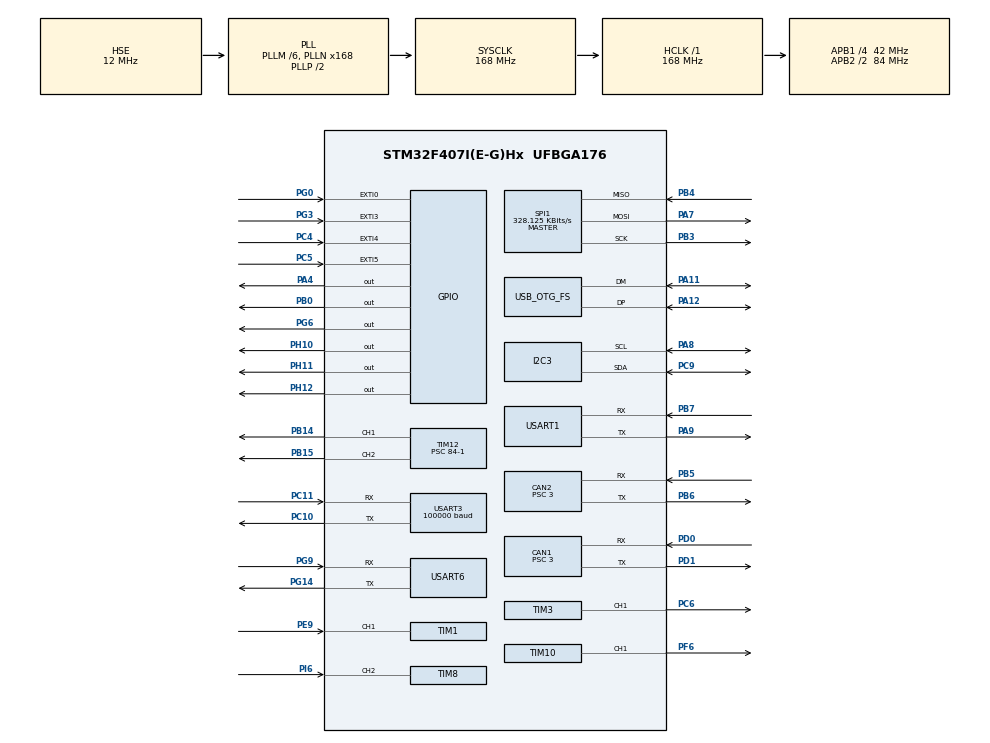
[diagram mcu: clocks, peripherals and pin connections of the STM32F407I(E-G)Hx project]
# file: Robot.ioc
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CAN1.BS1=CAN_BS1_10TQ
CAN1.BS2=CAN_BS2_3TQ
CAN1.CalculateBaudRate=1000000
CAN1.CalculateTimeBit=1000
CAN1.CalculateTimeQuantum=71.42857142857143
CAN1.Prescaler=3
CAN1.SJW=CAN_SJW_1TQ
CAN2.BS1=CAN_BS1_10TQ
CAN2.BS2=CAN_BS2_3TQ
CAN2.CalculateBaudRate=1000000
CAN2.CalculateTimeBit=1000
CAN2.CalculateTimeQuantum=71.42857142857143
CAN2.Prescaler=3
Dma.Request0=SPI1_RX
Dma.Request1=SPI1_TX
Dma.Request2=USART3_RX
Dma.Request3=USART6_RX
Dma.Request4=USART6_TX
Dma.SPI1_RX.0.Direction=DMA_PERIPH_TO_MEMORY
Dma.SPI1_RX.0.FIFOMode=DMA_FIFOMODE_DISABLE
Dma.SPI1_RX.0.Instance=DMA2_Stream2
Dma.SPI1_RX.0.MemDataAlignment=DMA_MDATAALIGN_BYTE
Dma.SPI1_RX.0.MemInc=DMA_MINC_ENABLE
Dma.SPI1_RX.0.Mode=DMA_NORMAL
Dma.SPI1_RX.0.PeriphDataAlignment=DMA_PDATAALIGN_BYTE
Dma.SPI1_RX.0.PeriphInc=DMA_PINC_DISABLE
Dma.SPI1_RX.0.Priority=DMA_PRIORITY_VERY_HIGH
Dma.SPI1_TX.1.Direction=DMA_MEMORY_TO_PERIPH
Dma.SPI1_TX.1.FIFOMode=DMA_FIFOMODE_DISABLE
Dma.SPI1_TX.1.Instance=DMA2_Stream3
Dma.SPI1_TX.1.MemDataAlignment=DMA_MDATAALIGN_BYTE
Dma.SPI1_TX.1.MemInc=DMA_MINC_ENABLE
Dma.SPI1_TX.1.Mode=DMA_NORMAL
Dma.SPI1_TX.1.PeriphDataAlignment=DMA_PDATAALIGN_BYTE
Dma.SPI1_TX.1.PeriphInc=DMA_PINC_DISABLE
Dma.SPI1_TX.1.Priority=DMA_PRIORITY_HIGH
Dma.USART3_RX.2.Direction=DMA_PERIPH_TO_MEMORY
Dma.USART3_RX.2.FIFOMode=DMA_FIFOMODE_DISABLE
Dma.USART3_RX.2.Instance=DMA1_Stream1
Dma.USART3_RX.2.MemDataAlignment=DMA_MDATAALIGN_BYTE
Dma.USART3_RX.2.MemInc=DMA_MINC_ENABLE
Dma.USART3_RX.2.Mode=DMA_NORMAL
Dma.USART3_RX.2.PeriphDataAlignment=DMA_PDATAALIGN_BYTE
Dma.USART3_RX.2.PeriphInc=DMA_PINC_DISABLE
Dma.USART3_RX.2.Priority=DMA_PRIORITY_LOW
Dma.USART6_RX.3.Direction=DMA_PERIPH_TO_MEMORY
Dma.USART6_RX.3.FIFOMode=DMA_FIFOMODE_DISABLE
Dma.USART6_RX.3.Instance=DMA2_Stream1
Dma.USART6_RX.3.MemDataAlignment=DMA_MDATAALIGN_BYTE
Dma.USART6_RX.3.MemInc=DMA_MINC_ENABLE
Dma.USART6_RX.3.Mode=DMA_NORMAL
Dma.USART6_RX.3.PeriphDataAlignment=DMA_PDATAALIGN_BYTE
Dma.USART6_RX.3.PeriphInc=DMA_PINC_DISABLE
Dma.USART6_RX.3.Priority=DMA_PRIORITY_HIGH
Dma.USART6_TX.4.Direction=DMA_MEMORY_TO_PERIPH
Dma.USART6_TX.4.FIFOMode=DMA_FIFOMODE_DISABLE
Dma.USART6_TX.4.Instance=DMA2_Stream6
Dma.USART6_TX.4.MemDataAlignment=DMA_MDATAALIGN_BYTE
Dma.USART6_TX.4.MemInc=DMA_MINC_ENABLE
Dma.USART6_TX.4.Mode=DMA_NORMAL
Dma.USART6_TX.4.PeriphDataAlignment=DMA_PDATAALIGN_BYTE
Dma.USART6_TX.4.PeriphInc=DMA_PINC_DISABLE
Dma.USART6_TX.4.Priority=DMA_PRIORITY_LOW
FREERTOS.INCLUDE_eTaskGetState=1
FREERTOS.INCLUDE_pcTaskGetTaskName=1
FREERTOS.INCLUDE_uxTaskGetStackHighWaterMark=1
FREERTOS.INCLUDE_vTaskCleanUpResources=1
FREERTOS.INCLUDE_vTaskDelayUntil=1
FREERTOS.INCLUDE_xEventGroupSetBitFromISR=1
FREERTOS.INCLUDE_xQueueGetMutexHolder=1
FREERTOS.INCLUDE_xSemaphoreGetMutexHolder=1
FREERTOS.INCLUDE_xTaskAbortDelay=1
FREERTOS.INCLUDE_xTaskGetCurrentTaskHandle=1
FREERTOS.INCLUDE_xTaskGetHandle=1
FREERTOS.INCLUDE_xTimerPendFunctionCall=1
FREERTOS.Tasks01=INS_TASK,3,2560,INS_Task,As weak,NULL,Dynamic,NULL,NULL;LED_TASK,0,128,LED_Task,As weak,NULL,Dynamic,NULL,NULL;Chassis_TASK,1,512,Chassis_Task,As weak,NULL,Dynamic,NULL,NULL;Gimbal_TASK,2,512,Gimbal_Task,As weak,NULL,Dynamic,NULL,NULL;Shoot_TASK,0,512,Shoot_Task,As weak,NULL,Dynamic,NULL,NULL;USB_TASK,0,128,USB_Task,As weak,NULL,Dynamic,NULL,NULL;Referee_TASK,-3,128,Referee_Task,As weak,NULL,Dynamic,NULL,NULL;User_TASK,-3,128,User_Task,As weak,NULL,Dynamic,NULL,NULL
FREERTOS.configTOTAL_HEAP_SIZE=24576
FREERTOS.configUSE_TIMERS=1
I2C3.I2C_Mode=I2C_Fast
Mcu.Family=STM32F4
Mcu.Name=STM32F407I(E-G)Hx
Mcu.Package=UFBGA176
NVIC.CAN1_RX0_IRQn=true\:5\:0\:false\:false\:true\:true\:true\:true\:true
NVIC.CAN2_RX0_IRQn=true\:5\:0\:false\:false\:true\:true\:true\:true\:true
NVIC.DMA1_Stream1_IRQn=true\:5\:0\:false\:false\:true\:true\:false\:true\:true
NVIC.DMA2_Stream1_IRQn=true\:5\:0\:false\:false\:true\:true\:false\:true\:true
NVIC.DMA2_Stream2_IRQn=true\:5\:0\:false\:false\:true\:true\:false\:true\:true
NVIC.DMA2_Stream3_IRQn=true\:5\:0\:false\:false\:true\:true\:false\:true\:true
NVIC.DMA2_Stream6_IRQn=true\:5\:0\:false\:false\:true\:true\:false\:true\:true
NVIC.EXTI0_IRQn=true\:5\:0\:false\:false\:true\:true\:true\:true\:true
NVIC.EXTI3_IRQn=true\:5\:0\:false\:false\:true\:true\:true\:true\:true
NVIC.EXTI4_IRQn=true\:5\:0\:false\:false\:true\:true\:true\:true\:true
NVIC.EXTI9_5_IRQn=true\:5\:0\:false\:false\:true\:true\:true\:true\:true
NVIC.OTG_FS_IRQn=true\:5\:0\:false\:false\:true\:true\:false\:true\:true
NVIC.PriorityGroup=NVIC_PRIORITYGROUP_4
NVIC.TIM2_IRQn=true\:15\:0\:false\:false\:true\:false\:false\:true\:true
NVIC.TIM8_TRG_COM_TIM14_IRQn=true\:5\:0\:false\:false\:true\:true\:true\:true\:true
NVIC.TimeBase=TIM2_IRQn
NVIC.TimeBaseIP=TIM2
NVIC.USART3_IRQn=true\:5\:0\:false\:false\:true\:true\:true\:true\:true
NVIC.USART6_IRQn=true\:5\:0\:false\:false\:true\:true\:true\:true\:true
PA11.Mode=Device_Only
PA11.Signal=USB_OTG_FS_DM
PA12.Mode=Device_Only
PA12.Signal=USB_OTG_FS_DP
PA13.Mode=Serial_Wire
PA13.Signal=SYS_JTMS-SWDIO
PA14.Mode=Serial_Wire
PA14.Signal=SYS_JTCK-SWCLK
PA4.GPIO_PuPd=GPIO_PULLUP
PA4.GPIO_Speed=GPIO_SPEED_FREQ_HIGH
PA4.PinState=GPIO_PIN_SET
PA4.Signal=GPIO_Output
PA7.GPIO_Mode=GPIO_MODE_AF_PP
PA7.GPIO_PuPd=GPIO_PULLUP
PA7.GPIO_Speed=GPIO_SPEED_FREQ_VERY_HIGH
PA7.Mode=Full_Duplex_Master
PA7.Signal=SPI1_MOSI
PA8.GPIO_Mode=GPIO_MODE_AF_OD
PA8.GPIO_Pu=GPIO_PULLUP
PA8.GPIO_Speed=GPIO_SPEED_FREQ_VERY_HIGH
PA8.Mode=I2C
PA8.Signal=I2C3_SCL
PA9.Mode=Asynchronous
PA9.Signal=USART1_TX
PB0.GPIO_ModeDefaultOutputPP=GPIO_MODE_OUTPUT_PP
PB0.GPIO_PuPd=GPIO_PULLUP
PB0.GPIO_Speed=GPIO_SPEED_FREQ_HIGH
PB0.PinState=GPIO_PIN_SET
PB0.Signal=GPIO_Output
PB14.GPIO_ModeDefaultPP=GPIO_MODE_AF_PP
PB14.GPIO_PuPd=GPIO_PULLUP
PB14.GPIO_Speed=GPIO_SPEED_FREQ_VERY_HIGH
PB14.Signal=S_TIM12_CH1
PB15.GPIO_ModeDefaultPP=GPIO_MODE_AF_PP
PB15.GPIO_PuPd=GPIO_PULLUP
PB15.GPIO_Speed=GPIO_SPEED_FREQ_VERY_HIGH
PB15.Signal=S_TIM12_CH2
PB3.GPIO_Mode=GPIO_MODE_AF_PP
PB3.GPIO_PuPd=GPIO_PULLUP
PB3.GPIO_Speed=GPIO_SPEED_FREQ_VERY_HIGH
PB3.Mode=Full_Duplex_Master
PB3.Signal=SPI1_SCK
PB4.GPIO_Mode=GPIO_MODE_AF_PP
PB4.GPIO_PuPd=GPIO_PULLUP
PB4.GPIO_Speed=GPIO_SPEED_FREQ_VERY_HIGH
PB4.Mode=Full_Duplex_Master
PB4.Signal=SPI1_MISO
PB5.Mode=CAN_Activate
PB5.Signal=CAN2_RX
PB6.Mode=CAN_Activate
PB6.Signal=CAN2_TX
PB7.Mode=Asynchronous
PB7.Signal=USART1_RX
PC10.GPIO_ModeDefaultPP=GPIO_MODE_AF_PP
PC10.GPIO_PuPd=GPIO_PULLUP
PC10.GPIO_Speed=GPIO_SPEED_FREQ_VERY_HIGH
PC10.Mode=Asynchronous
PC10.Signal=USART3_TX
PC11.GPIO_ModeDefaultPP=GPIO_MODE_AF_PP
PC11.GPIO_PuPd=GPIO_PULLUP
PC11.GPIO_Speed=GPIO_SPEED_FREQ_VERY_HIGH
PC11.Mode=Asynchronous
PC11.Signal=USART3_RX
PC4.GPIO_ModeDefaultEXTI=GPIO_MODE_IT_FALLING
PC4.GPIO_PuPd=GPIO_PULLUP
PC4.Signal=GPXTI4
PC5.GPIO_ModeDefaultEXTI=GPIO_MODE_IT_FALLING
PC5.GPIO_PuPd=GPIO_PULLUP
PC5.Signal=GPXTI5
PC6.GPIO_ModeDefaultPP=GPIO_MODE_AF_PP
PC6.GPIO_PuPd=GPIO_PULLUP
PC6.GPIO_Speed=GPIO_SPEED_FREQ_VERY_HIGH
PC6.Signal=S_TIM3_CH1
PC9.GPIO_Mode=GPIO_MODE_AF_OD
PC9.GPIO_Pu=GPIO_PULLUP
PC9.GPIO_Speed=GPIO_SPEED_FREQ_VERY_HIGH
PC9.Mode=I2C
PC9.Signal=I2C3_SDA
PD0.Mode=CAN_Activate
PD0.Signal=CAN1_RX
PD1.Mode=CAN_Activate
PD1.Signal=CAN1_TX
PE11.GPIO_ModeDefaultPP=GPIO_MODE_AF_PP
PE11.GPIO_PuPd=GPIO_PULLUP
PE11.GPIO_Speed=GPIO_SPEED_FREQ_VERY_HIGH
PE11.Signal=S_TIM1_CH2
PE9.GPIO_PuPd=GPIO_PULLUP
PE9.GPIO_Speed=GPIO_SPEED_FREQ_VERY_HIGH
PE9.Signal=S_TIM1_CH1
PF6.GPIO_PuPd=GPIO_PULLUP
PF6.GPIO_Speed=GPIO_SPEED_FREQ_VERY_HIGH
PF6.Signal=S_TIM10_CH1
PG0.GPIO_ModeDefaultEXTI=GPIO_MODE_IT_FALLING
PG0.GPIO_PuPd=GPIO_PULLUP
PG0.Signal=GPXTI0
PG14.GPIO_ModeDefaultPP=GPIO_MODE_AF_PP
PG14.GPIO_PuPd=GPIO_PULLUP
PG14.GPIO_Speed=GPIO_SPEED_FREQ_VERY_HIGH
PG14.Mode=Asynchronous
PG14.Signal=USART6_TX
PG3.GPIO_ModeDefaultEXTI=GPIO_MODE_IT_FALLING
PG3.GPIO_PuPd=GPIO_PULLUP
PG3.Signal=GPXTI3
PG6.GPIO_ModeDefaultOutputPP=GPIO_MODE_OUTPUT_PP
PG6.GPIO_PuPd=GPIO_PULLUP
PG6.GPIO_Speed=GPIO_SPEED_FREQ_HIGH
PG6.PinState=GPIO_PIN_SET
PG6.Signal=GPIO_Output
PG9.GPIO_ModeDefaultPP=GPIO_MODE_AF_PP
PG9.GPIO_PuPd=GPIO_PULLUP
PG9.GPIO_Speed=GPIO_SPEED_FREQ_VERY_HIGH
PG9.Mode=Asynchronous
PG9.Signal=USART6_RX
PH0-OSC_IN.Mode=HSE-External-Oscillator
PH0-OSC_IN.Signal=RCC_OSC_IN
PH1-OSC_OUT.Mode=HSE-External-Oscillator
PH1-OSC_OUT.Signal=RCC_OSC_OUT
PH10.GPIO_ModeDefaultOutputPP=GPIO_MODE_OUTPUT_PP
PH10.GPIO_PuPd=GPIO_PULLDOWN
PH10.GPIO_Speed=GPIO_SPEED_FREQ_VERY_HIGH
PH10.PinState=GPIO_PIN_RESET
PH10.Signal=GPIO_Output
PH11.GPIO_ModeDefaultOutputPP=GPIO_MODE_OUTPUT_PP
PH11.GPIO_PuPd=GPIO_PULLDOWN
PH11.GPIO_Speed=GPIO_SPEED_FREQ_VERY_HIGH
PH11.PinState=GPIO_PIN_RESET
PH11.Signal=GPIO_Output
PH12.GPIO_ModeDefaultOutputPP=GPIO_MODE_OUTPUT_PP
PH12.GPIO_PuPd=GPIO_PULLDOWN
PH12.GPIO_Speed=GPIO_SPEED_FREQ_VERY_HIGH
PH12.PinState=GPIO_PIN_RESET
PH12.Signal=GPIO_Output
PI6.GPIO_PuPd=GPIO_PULLUP
PI6.GPIO_Speed=GPIO_SPEED_FREQ_VERY_HIGH
PI6.Signal=S_TIM8_CH2
ProjectManager.HeapSize=0x2000
ProjectManager.StackSize=0x2000
ProjectManager.TargetToolchain=MDK-ARM V5
RCC.48MHZClocksFreq_Value=48000000
RCC.AHBFreq_Value=168000000
RCC.APB1CLKDivider=RCC_HCLK_DIV4
RCC.APB1Freq_Value=42000000
RCC.APB1TimFreq_Value=84000000
RCC.APB2CLKDivider=RCC_HCLK_DIV2
RCC.APB2Freq_Value=84000000
RCC.APB2TimFreq_Value=168000000
RCC.CortexFreq_Value=168000000
RCC.HCLKFreq_Value=168000000
RCC.HSE_VALUE=12000000
RCC.HSI_VALUE=16000000
RCC.LSE_VALUE=32768
RCC.PLLM=6
RCC.PLLN=168
RCC.PLLQ=7
RCC.SYSCLKFreq_VALUE=168000000
RCC.SYSCLKSource=RCC_SYSCLKSOURCE_PLLCLK
RCC.VCOOutputFreq_Value=336000000
SH.S_TIM10_CH1.0=TIM10_CH1,PWM Generation1 CH1
SH.S_TIM12_CH1.0=TIM12_CH1,PWM Generation1 CH1
SH.S_TIM12_CH2.0=TIM12_CH2,PWM Generation2 CH2
SH.S_TIM1_CH1.0=TIM1_CH1,TriggerSource_TI1FP1
SH.S_TIM1_CH2.0=TIM1_CH2
SH.S_TIM3_CH1.0=TIM3_CH1,PWM Generation1 CH1
SH.S_TIM8_CH2.0=TIM8_CH2,TriggerSource_TI2FP2
SPI1.BaudRatePrescaler=SPI_BAUDRATEPRESCALER_256
SPI1.CLKPhase=SPI_PHASE_2EDGE
SPI1.CLKPolarity=SPI_POLARITY_HIGH
SPI1.CalculateBaudRate=328.125 KBits/s
SPI1.Direction=SPI_DIRECTION_2LINES
SPI1.Mode=SPI_MODE_MASTER
SPI1.VirtualType=VM_MASTER
TIM10.Channel=TIM_CHANNEL_1
TIM10.Period=4999
TIM12.Channel-PWM\ Generation1\ CH1=TIM_CHANNEL_1
TIM12.Channel-PWM\ Generation2\ CH2=TIM_CHANNEL_2
TIM12.Period=20000-1
TIM12.Prescaler=84-1
TIM14.Period=2000-1
TIM14.Prescaler=84-1
TIM3.Channel-PWM\ Generation1\ CH1=TIM_CHANNEL_1
TIM3.Period=20000-1
TIM3.Prescaler=84-1
USART1.VirtualMode=VM_ASYNC
USART3.BaudRate=100000
USART3.VirtualMode=VM_ASYNC
USART6.VirtualMode=VM_ASYNC
USB_DEVICE.CLASS_NAME_FS=CDC
USB_DEVICE.VirtualMode-CDC_FS=Cdc
USB_DEVICE.VirtualModeFS=Cdc_FS
USB_OTG_FS.VirtualMode=Device_Only
VP_FREERTOS_VS_CMSIS_V1.Mode=CMSIS_V1
VP_SYS_VS_tim2.Mode=TIM2
VP_TIM10_VS_ClockSourceINT.Mode=Enable_Timer
VP_TIM12_VS_ClockSourceINT.Mode=Internal
VP_TIM14_VS_ClockSourceINT.Mode=Enable_Timer
VP_TIM1_VS_ControllerModeClock.Mode=Clock Mode
VP_TIM3_VS_ClockSourceINT.Mode=Internal
VP_TIM8_VS_ControllerModeClock.Mode=Clock Mode
VP_USB_DEVICE_VS_USB_DEVICE_CDC_FS.Mode=CDC_FS
board=custom

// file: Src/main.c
/* USER CODE BEGIN Header */
/**
  ******************************************************************************
  * @file           : main.c
  * @brief          : Main program body
  ******************************************************************************
  * @attention
  *
  * <h2><center>&copy; Copyright (c) 2021 STMicroelectronics.
  * All rights reserved.</center></h2>
  *
  * This software component is licensed by ST under Ultimate Liberty license
  * SLA0044, the "License"; You may not use this file except in compliance with
  * the License. You may obtain a copy of the License at:
  *                             www.st.com/SLA0044
  *
  ******************************************************************************
  */
/* USER CODE END Header */
#include "main.h"
#include "cmsis_os.h"
#include "can.h"
#include "dma.h"
#include "i2c.h"
#include "spi.h"
#include "tim.h"
#include "usart.h"
#include "usb_device.h"
#include "gpio.h"
#include "usb_device.h"

/* USER CODE BEGIN Includes */
#include "bsp_delay.h"
#include "remote_control.h"
#include "bsp_can.h"
#include "bsp_tim.h"
/* USER CODE END Includes */

void SystemClock_Config(void);
void MX_FREERTOS_Init(void);

int main(void)
{

  /* MCU Configuration--------------------------------------------------------*/

  /* Reset of all peripherals, Initializes the Flash interface and the Systick. */
  HAL_Init();

  /* Configure the system clock */
  SystemClock_Config();

  /* Initialize all configured peripherals */
  MX_GPIO_Init();
  MX_DMA_Init();
  MX_I2C3_Init();
  MX_SPI1_Init();
  MX_TIM10_Init();
  MX_USART3_UART_Init();
  MX_CAN1_Init();
  MX_CAN2_Init();
  MX_TIM1_Init();
  MX_TIM3_Init();
  MX_TIM8_Init();
  MX_TIM12_Init();
  MX_TIM14_Init();
  MX_USART6_UART_Init();
  MX_USART1_UART_Init();
  /* USER CODE BEGIN 2 */
	MX_USB_DEVICE_Init();
	HAL_TIM_Base_Start(&htim1);
	HAL_TIM_Base_Start(&htim8);
	HAL_TIM_Base_Start_IT(&htim14);
	HAL_TIM_PWM_Start(&htim3, TIM_CHANNEL_1);
	HAL_TIM_PWM_Start(&htim10, TIM_CHANNEL_1);
	HAL_TIM_PWM_Start(&htim12, TIM_CHANNEL_1);
	HAL_TIM_PWM_Start(&htim12, TIM_CHANNEL_2);

	can_filter_init();
	delay_init();
	remote_control_init();

  /* USER CODE END 2 */

  /* Call init function for freertos objects (in freertos.c) */
  MX_FREERTOS_Init();
  /* Start scheduler */
  osKernelStart();

  /* We should never get here as control is now taken by the scheduler */
  /* Infinite loop */
  while (1)
  {

  }
}

void SystemClock_Config(void)
{
  RCC_OscInitTypeDef RCC_OscInitStruct = {0};
  RCC_ClkInitTypeDef RCC_ClkInitStruct = {0};

  /** Configure the main internal regulator output voltage
  */
  __HAL_RCC_PWR_CLK_ENABLE();
  __HAL_PWR_VOLTAGESCALING_CONFIG(PWR_REGULATOR_VOLTAGE_SCALE1);
  /** Initializes the RCC Oscillators according to the specified parameters
  * in the RCC_OscInitTypeDef structure.
  */
  RCC_OscInitStruct.OscillatorType = RCC_OSCILLATORTYPE_HSE;
  RCC_OscInitStruct.HSEState = RCC_HSE_ON;
  RCC_OscInitStruct.PLL.PLLState = RCC_PLL_ON;
  RCC_OscInitStruct.PLL.PLLSource = RCC_PLLSOURCE_HSE;
  RCC_OscInitStruct.PLL.PLLM = 6;
  RCC_OscInitStruct.PLL.PLLN = 168;
  RCC_OscInitStruct.PLL.PLLP = RCC_PLLP_DIV2;
  RCC_OscInitStruct.PLL.PLLQ = 7;
  if (HAL_RCC_OscConfig(&RCC_OscInitStruct) != HAL_OK)
  {
    Error_Handler();
  }
  /** Initializes the CPU, AHB and APB buses clocks
  */
  RCC_ClkInitStruct.ClockType = RCC_CLOCKTYPE_HCLK|RCC_CLOCKTYPE_SYSCLK
                              |RCC_CLOCKTYPE_PCLK1|RCC_CLOCKTYPE_PCLK2;
  RCC_ClkInitStruct.SYSCLKSource = RCC_SYSCLKSOURCE_PLLCLK;
  RCC_ClkInitStruct.AHBCLKDivider = RCC_SYSCLK_DIV1;
  RCC_ClkInitStruct.APB1CLKDivider = RCC_HCLK_DIV4;
  RCC_ClkInitStruct.APB2CLKDivider = RCC_HCLK_DIV2;

  if (HAL_RCC_ClockConfig(&RCC_ClkInitStruct, FLASH_LATENCY_5) != HAL_OK)
  {
    Error_Handler();
  }
}

void HAL_TIM_PeriodElapsedCallback(TIM_HandleTypeDef *htim)
{
  if (htim->Instance == TIM2) {
    HAL_IncTick();
  }
  /* USER CODE BEGIN Callback 1 */
	else if(htim->Instance==TIM14)
	{
		encoder_solve();
	}
  /* USER CODE END Callback 1 */
}

void Error_Handler(void)
{
  __disable_irq();
  while (1)
  {
  }
}

/************************ (C) COPYRIGHT STMicroelectronics *****END OF FILE****/

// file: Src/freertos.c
/* USER CODE BEGIN Header */
/**
  ******************************************************************************
  * File Name          : freertos.c
  * Description        : Code for freertos applications
  ******************************************************************************
  * @attention
  *
  * <h2><center>&copy; Copyright (c) 2021 STMicroelectronics.
  * All rights reserved.</center></h2>
  *
  * This software component is licensed by ST under Ultimate Liberty license
  * SLA0044, the "License"; You may not use this file except in compliance with
  * the License. You may obtain a copy of the License at:
  *                             www.st.com/SLA0044
  *
  ******************************************************************************
  */
/* USER CODE END Header */

#include "FreeRTOS.h"
#include "task.h"
#include "main.h"
#include "cmsis_os.h"

/* USER CODE BEGIN Includes */
#include "INS_task.h"
#include "LED_Task.h"
#include "Chassis_Task.h"
#include "Gantry_Task.h"
#include "Shoot_Task.h"
#include "USB_Task.h"
#include "Referee_task.h"
/* USER CODE END Includes */

osThreadId INS_TASKHandle;
osThreadId LED_TASKHandle;
osThreadId Chassis_TASKHandle;
osThreadId Gantry_TASKHandle;
osThreadId Shoot_TASKHandle;
osThreadId USB_TASKHandle;
osThreadId Referee_TASKHandle;
osThreadId User_TASKHandle;

void INS_Task(void const * argument);
void LED_Task(void const * argument);
void Chassis_Task(void const * argument);
void Gantry_Task(void const * argument);
void Shoot_Task(void const * argument);
void USB_Task(void const * argument);
void Referee_Task(void const * argument);
void User_Task(void const * argument);

extern void MX_USB_DEVICE_Init(void);
void MX_FREERTOS_Init(void); /* (MISRA C 2004 rule 8.1) */

/* GetIdleTaskMemory prototype (linked to static allocation support) */
void vApplicationGetIdleTaskMemory( StaticTask_t **ppxIdleTaskTCBBuffer, StackType_t **ppxIdleTaskStackBuffer, uint32_t *pulIdleTaskStackSize );

/* GetTimerTaskMemory prototype (linked to static allocation support) */
void vApplicationGetTimerTaskMemory( StaticTask_t **ppxTimerTaskTCBBuffer, StackType_t **ppxTimerTaskStackBuffer, uint32_t *pulTimerTaskStackSize );

/* USER CODE BEGIN GET_IDLE_TASK_MEMORY */
static StaticTask_t xIdleTaskTCBBuffer;
static StackType_t xIdleStack[configMINIMAL_STACK_SIZE];

void vApplicationGetIdleTaskMemory( StaticTask_t **ppxIdleTaskTCBBuffer, StackType_t **ppxIdleTaskStackBuffer, uint32_t *pulIdleTaskStackSize )
{
  *ppxIdleTaskTCBBuffer = &xIdleTaskTCBBuffer;
  *ppxIdleTaskStackBuffer = &xIdleStack[0];
  *pulIdleTaskStackSize = configMINIMAL_STACK_SIZE;
  /* place for user code */
}
/* USER CODE END GET_IDLE_TASK_MEMORY */

/* USER CODE BEGIN GET_TIMER_TASK_MEMORY */
static StaticTask_t xTimerTaskTCBBuffer;
static StackType_t xTimerStack[configTIMER_TASK_STACK_DEPTH];

void vApplicationGetTimerTaskMemory( StaticTask_t **ppxTimerTaskTCBBuffer, StackType_t **ppxTimerTaskStackBuffer, uint32_t *pulTimerTaskStackSize )
{
  *ppxTimerTaskTCBBuffer = &xTimerTaskTCBBuffer;
  *ppxTimerTaskStackBuffer = &xTimerStack[0];
  *pulTimerTaskStackSize = configTIMER_TASK_STACK_DEPTH;
  /* place for user code */
}
/* USER CODE END GET_TIMER_TASK_MEMORY */

void MX_FREERTOS_Init(void) {

  /* Create the thread(s) */
  /* definition and creation of INS_TASK */
  osThreadDef(INS_TASK, INS_Task, osPriorityRealtime, 0, 2560);
  INS_TASKHandle = osThreadCreate(osThread(INS_TASK), NULL);

  /* definition and creation of LED_TASK */
  osThreadDef(LED_TASK, LED_Task, osPriorityNormal, 0, 128);
  LED_TASKHandle = osThreadCreate(osThread(LED_TASK), NULL);

  /* definition and creation of Chassis_TASK */
  osThreadDef(Chassis_TASK, Chassis_Task, osPriorityAboveNormal, 0, 512);
  Chassis_TASKHandle = osThreadCreate(osThread(Chassis_TASK), NULL);

  /* definition and creation of Gantry_TASK */
  osThreadDef(Gantry_TASK, Gantry_Task, osPriorityHigh, 0, 512);
  Gantry_TASKHandle = osThreadCreate(osThread(Gantry_TASK), NULL);

  /* definition and creation of Shoot_TASK */
  osThreadDef(Shoot_TASK, Shoot_Task, osPriorityNormal, 0, 512);
  Shoot_TASKHandle = osThreadCreate(osThread(Shoot_TASK), NULL);

  /* definition and creation of USB_TASK */
  osThreadDef(USB_TASK, USB_Task, osPriorityNormal, 0, 128);
  USB_TASKHandle = osThreadCreate(osThread(USB_TASK), NULL);

  /* definition and creation of Referee_TASK */
  osThreadDef(Referee_TASK, Referee_Task, osPriorityIdle, 0, 128);
  Referee_TASKHandle = osThreadCreate(osThread(Referee_TASK), NULL);

  /* definition and creation of User_TASK */
  osThreadDef(User_TASK, User_Task, osPriorityIdle, 0, 128);
  User_TASKHandle = osThreadCreate(osThread(User_TASK), NULL);

}

__weak void INS_Task(void const * argument)
{
  /* init code for USB_DEVICE */
  MX_USB_DEVICE_Init();
  for(;;)
  {
    osDelay(1);
  }
}

__weak void LED_Task(void const * argument)
{
  /* USER CODE BEGIN LED_Task */
  /* Infinite loop */
  for(;;)
  {
    vTaskDelay(2);
  }
  /* USER CODE END LED_Task */
}

__weak void Chassis_Task(void const * argument)
{
  for(;;)
  {
    osDelay(1);
  }
}

__weak void Gantry_Task(void const * argument)
{
  for(;;)
  {
    osDelay(1);
  }
}

__weak void Shoot_Task(void const * argument)
{
  for(;;)
  {
    osDelay(1);
  }
}

__weak void USB_Task(void const * argument)
{
  /* USER CODE BEGIN USB_Task */
  /* Infinite loop */
  for(;;)
  {
    osDelay(2);
  }
  /* USER CODE END USB_Task */
}

__weak void Referee_Task(void const * argument)
{
  for(;;)
  {
    osDelay(1);
  }
}

__weak void User_Task(void const * argument)
{
  for(;;)
  {
    osDelay(1);
  }
}

/************************ (C) COPYRIGHT STMicroelectronics *****END OF FILE****/
